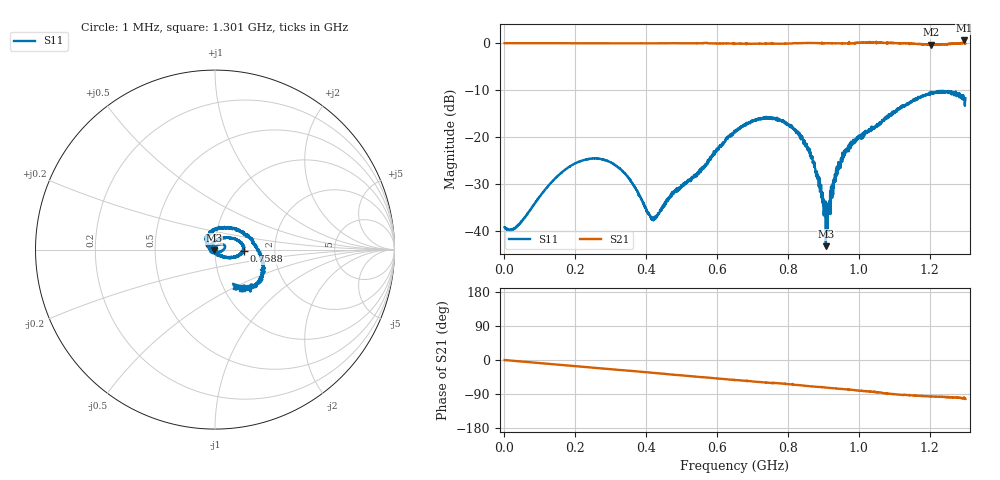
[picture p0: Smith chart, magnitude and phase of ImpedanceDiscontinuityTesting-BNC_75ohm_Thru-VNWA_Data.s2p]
! ListType=Lin
# MHZ S DB R 50
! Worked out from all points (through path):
!   2600 points, 1 MHz to 1.301 GHz, reference 50 ohm
!   highest |S21| = 0.61 dB at 1.297 GHz (marker M1); lowest = -0.3 dB at 1.203 GHz (marker M2)
!   group delay of S21, straight-line fit = 222 ps
!   lowest |S11| = -43.3 dB at 907.3 MHz (marker M3), VSWR 1.01, Z = 49.5 - j0.46 ohm
!   |S11| at or under -10 dB: start of sweep to end of sweep
!   S12 and S22 are empty: the file has one direction only
!   S11 on the Smith chart (normalised r, x): 1 MHz: 0.98, +0.00; 758.8 MHz: 1.38, -0.02; 1.301 GHz: 1.21, -0.55
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1  -39.31 176.9  0.04 -0.1  -3000.00 -90.0  -3000.00 -90.0
34.51289  -39.13 128.1  0.03 -2.8  -3000.00 -90.0  -3000.00 -90.0
143.5548  -28.84 50.9  0.03 -11.6  -3000.00 -90.0  -3000.00 -90.0
218.0835  -25.10 29.0  0.01 -17.6  -3000.00 -90.0  -3000.00 -90.0
314.1204  -26.09 2.0  0.00 -25.3  -3000.00 -90.0  -3000.00 -90.0
356.1366  -29.26 -16.8  -0.00 -28.6  -3000.00 -90.0  -3000.00 -90.0
411.1578  -36.76 -91.6  0.00 -33.2  -3000.00 -90.0  -3000.00 -90.0
434.6668  -36.56 -138.0  0.01 -35.2  -3000.00 -90.0  -3000.00 -90.0
475.1824  -31.86 173.3  0.03 -38.6  -3000.00 -90.0  -3000.00 -90.0
535.2055  -28.17 115.9  0.02 -43.4  -3000.00 -90.0  -3000.00 -90.0
651.2501  -18.90 33.0  -0.05 -52.9  -3000.00 -90.0  -3000.00 -90.0
758.7915  -15.92 -3.0  -0.06 -61.0  -3000.00 -90.0  -3000.00 -90.0
826.3174  -18.74 -22.4  0.03 -66.0  -3000.00 -90.0  -3000.00 -90.0
867.8334  -24.45 -39.3  0.05 -69.5  -3000.00 -90.0  -3000.00 -90.0
907.3486  -43.33 -137.0  0.03 -72.7  -3000.00 -90.0  -3000.00 -90.0
913.8511  -35.23 -128.3  0.04 -73.3  -3000.00 -90.0  -3000.00 -90.0
936.3598  -26.91 155.7  -0.02 -75.0  -3000.00 -90.0  -3000.00 -90.0
965.3709  -23.17 130.7  -0.01 -77.5  -3000.00 -90.0  -3000.00 -90.0
1084.417  -15.82 41.3  0.06 -88.9  -3000.00 -90.0  -3000.00 -90.0
1203.462  -10.34 -24.0  -0.31 -95.9  -3000.00 -90.0  -3000.00 -90.0
1297.499  -11.89 -59.2  0.61 -98.4  -3000.00 -90.0  -3000.00 -90.0
1301  -11.71 -54.8  -0.03 -102.5  -3000.00 -90.0  -3000.00 -90.0
